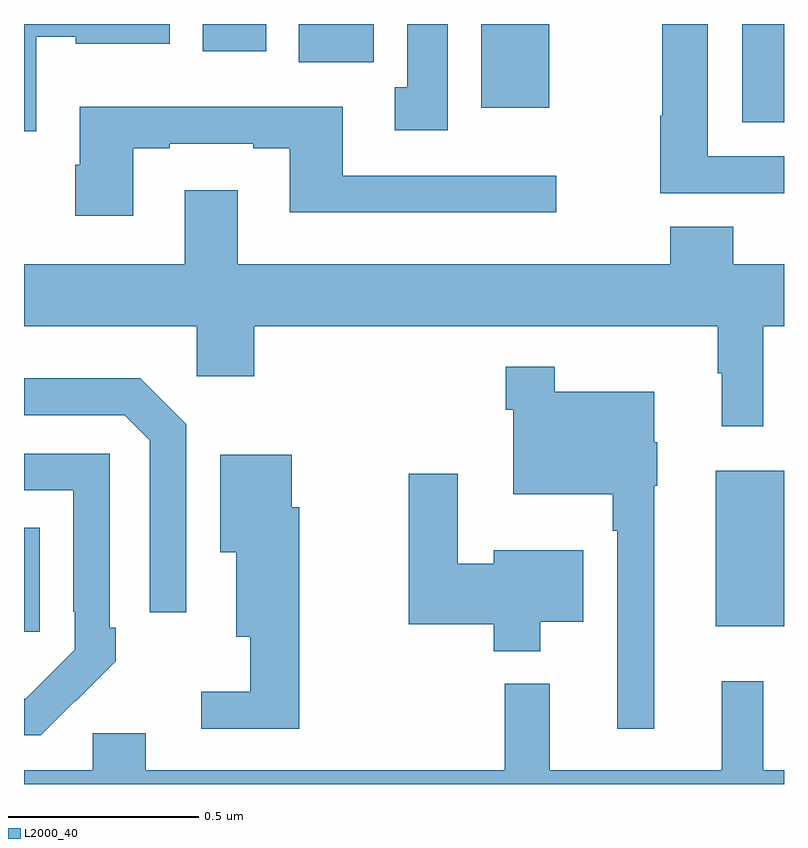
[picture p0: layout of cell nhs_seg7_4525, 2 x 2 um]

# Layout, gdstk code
import gdstk
lib = gdstk.Library(unit=1e-6, precision=1e-09)
def R(c, l, rs):  # rectangles x0, y0, x1, y1
    for r in rs: c.add(gdstk.rectangle(r[:2], r[2:], *l))
def P(c, l, *ps):  # polygons
    for p in ps: c.add(gdstk.Polygon(p, *l))
L2000_40 = (2000, 40)

nhs_seg7_4525 = lib.new_cell('nhs_seg7_4525')
R(nhs_seg7_4525, L2000_40, [(173,1078.401,173.041,1078.675), (174.821,1078.415,175,1078.825), (174.89,1079.741,175,1080), (174.203,1079.78,174.382,1080), (173.723,1079.9,173.92,1080), (173.471,1079.928,173.638,1080)])
P(nhs_seg7_4525, L2000_40, [(173.032,1079.966),(173.136,1079.966),(173.136,1079.948),(173.383,1079.948),(173.383,1080),(173,1080),(173,1079.718),(173.032,1079.718)],
  [(174.115,1080),(174.008,1080),(174.008,1079.834),(173.975,1079.834),(173.975,1079.721),(174.115,1079.721)],
  [(175,1079.652),(174.799,1079.652),(174.799,1080),(174.679,1080),(174.679,1079.759),(174.674,1079.759),(174.674,1079.555),(175,1079.555)],
  [(173.287,1079.673),(173.383,1079.673),(173.383,1079.685),(173.603,1079.685),(173.603,1079.673),(173.699,1079.673),(173.699,1079.504),(174.4,1079.504),(174.4,1079.601),(173.839,1079.601),(173.839,1079.782),(173.147,1079.782),(173.147,1079.63),(173.135,1079.63),(173.135,1079.496),(173.287,1079.496)],
  [(174.946,1079.204),(175,1079.204),(175,1079.368),(174.866,1079.368),(174.866,1079.467),(174.701,1079.467),(174.701,1079.368),(173.563,1079.368),(173.563,1079.563),(173.423,1079.563),(173.423,1079.368),(173,1079.368),(173,1079.204),(173.454,1079.204),(173.454,1079.073),(173.606,1079.073),(173.606,1079.204),(174.825,1079.204),(174.825,1079.081),(174.836,1079.081),(174.836,1078.941),(174.946,1078.941)],
  [(174.658,1078.785),(174.667,1078.785),(174.667,1078.899),(174.658,1078.899),(174.658,1079.032),(174.397,1079.032),(174.397,1079.098),(174.268,1079.098),(174.268,1078.985),(174.288,1078.985),(174.288,1078.763),(174.549,1078.763),(174.549,1078.667),(174.561,1078.667),(174.561,1078.146),(174.658,1078.146)],
  [(173.427,1078.947),(173.306,1079.068),(173,1079.068),(173,1078.971),(173.265,1078.971),(173.331,1078.905),(173.331,1078.452),(173.427,1078.452)],
  [(173.135,1078.219),(173.136,1078.218),(173.241,1078.323),(173.241,1078.411),(173.226,1078.411),(173.226,1078.869),(173,1078.869),(173,1078.773),(173.13,1078.773),(173.13,1078.453),(173.133,1078.453),(173.133,1078.353),(173.005,1078.225),(173,1078.225),(173,1078.128),(173.044,1078.128)],
  [(173.724,1078.728),(173.704,1078.728),(173.704,1078.867),(173.516,1078.867),(173.516,1078.61),(173.558,1078.61),(173.558,1078.388),(173.595,1078.388),(173.595,1078.243),(173.466,1078.243),(173.466,1078.146),(173.724,1078.146)],
  [(174.358,1078.427),(174.472,1078.427),(174.472,1078.615),(174.236,1078.615),(174.236,1078.58),(174.142,1078.58),(174.142,1078.816),(174.013,1078.816),(174.013,1078.42),(174.236,1078.42),(174.236,1078.349),(174.358,1078.349)],
  [(174.265,1078.036),(173.32,1078.036),(173.32,1078.134),(173.181,1078.134),(173.181,1078.036),(173,1078.036),(173,1078),(175,1078),(175,1078.036),(174.946,1078.036),(174.946,1078.27),(174.836,1078.27),(174.836,1078.036),(174.383,1078.036),(174.383,1078.264),(174.265,1078.264)])

lib.write_gds('nhs_seg7_4525.gds')
